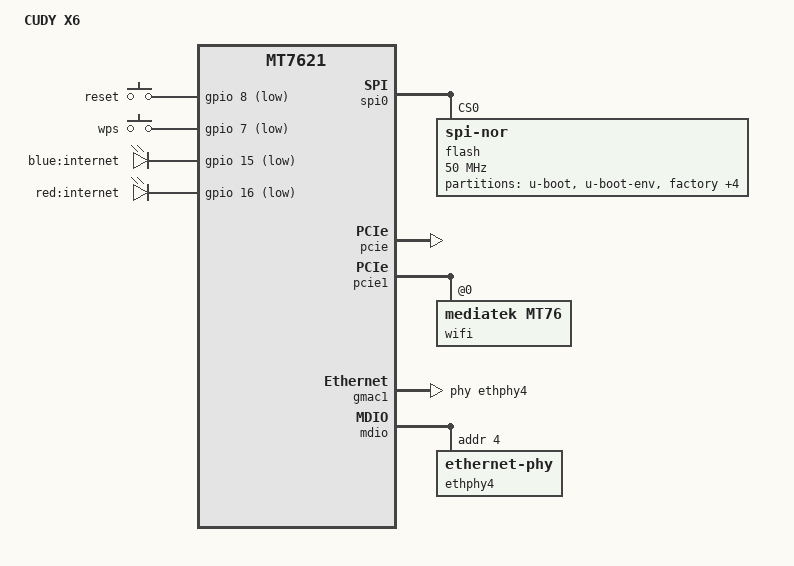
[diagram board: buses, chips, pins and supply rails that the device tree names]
// SPDX-License-Identifier: GPL-2.0-or-later OR MIT

#include "mt7621.dtsi"

#include <dt-bindings/gpio/gpio.h>
#include <dt-bindings/input/input.h>

/ {
	compatible = "cudy,x6", "mediatek,mt7621-soc";
	model = "CUDY X6";

	aliases {
		led-boot = &led_internet_blue;
		led-failsafe = &led_internet_blue;
		led-running = &led_internet_blue;
		led-upgrade = &led_internet_blue;
		label-mac-device = &gmac0;
	};

	chosen {
		bootargs = "console=ttyS0,115200";
	};

	keys {
		compatible = "gpio-keys";

		reset {
			label = "reset";
			gpios = <&gpio 8 GPIO_ACTIVE_LOW>;
			linux,code = <KEY_RESTART>;
		};

		wps {
			label = "wps";
			gpios = <&gpio 7 GPIO_ACTIVE_LOW>;
			linux,code = <KEY_WPS_BUTTON>;
		};
	};

	leds {
		compatible = "gpio-leds";

		led_internet_blue: internet_blue {
			label = "blue:internet";
			gpios = <&gpio 15 GPIO_ACTIVE_LOW>;
		};

		internet_red {
			label = "red:internet";
			gpios = <&gpio 16 GPIO_ACTIVE_LOW>;
		};
	};

};

&spi0 {
	status = "okay";

	flash@0 {
		compatible = "jedec,spi-nor";
		reg = <0>;
		spi-max-frequency = <50000000>;

		partitions {
			compatible = "fixed-partitions";
			#address-cells = <1>;
			#size-cells = <1>;

			partition@0 {
				label = "u-boot";
				reg = <0x0 0x30000>;
				read-only;
			};

			partition@30000 {
				label = "u-boot-env";
				reg = <0x30000 0x10000>;
				read-only;
			};

			factory: partition@40000 {
				label = "factory";
				reg = <0x40000 0x10000>;
				read-only;
			};

			partition@50000 {
				compatible = "denx,uimage";
				label = "firmware";
				reg = <0x50000 0x1f80000>;
			};

			partition@1fd0000 {
				label = "debug";
				reg = <0x1fd0000 0x10000>;
				read-only;
			};

			partition@1fe0000 {
				label = "backup";
				reg = <0x1fe0000 0x10000>;
				read-only;
			};

			bdinfo: partition@1ff0000 {
				label = "bdinfo";
				reg = <0x1ff0000 0x10000>;
				read-only;
			};
		};
	};
};

&pcie {
	status = "okay";
};

&pcie1 {
	wifi@0,0 {
		compatible = "mediatek,mt76";
		reg = <0x0000 0 0 0 0>;
		mediatek,mtd-eeprom = <&factory 0x0000>;
		mediatek,disable-radar-background;
	};
};

&gmac0 {
	nvmem-cells = <&macaddr_bdinfo_de00>;
	nvmem-cell-names = "mac-address";
};

&gmac1 {
	status = "okay";
	label = "wan";
	phy-handle = <&ethphy4>;

	nvmem-cells = <&macaddr_bdinfo_de00>;
	nvmem-cell-names = "mac-address";
	mac-address-increment = <1>;
};

&mdio {
	ethphy4: ethernet-phy@4 {
		reg = <4>;
	};
};

&switch0 {
	ports {
		port@0 {
			status = "okay";
			label = "lan1";
		};

		port@1 {
			status = "okay";
			label = "lan2";
		};

		port@2 {
			status = "okay";
			label = "lan3";
		};

		port@3 {
			status = "okay";
			label = "lan4";
		};
	};
};

&state_default {
	gpio {
		groups = "uart3", "jtag";
		function = "gpio";
	};
};

&bdinfo {
	compatible = "nvmem-cells";
	#address-cells = <1>;
	#size-cells = <1>;

	macaddr_bdinfo_de00: macaddr@de00 {
		reg = <0xde00 0x6>;
	};
};
